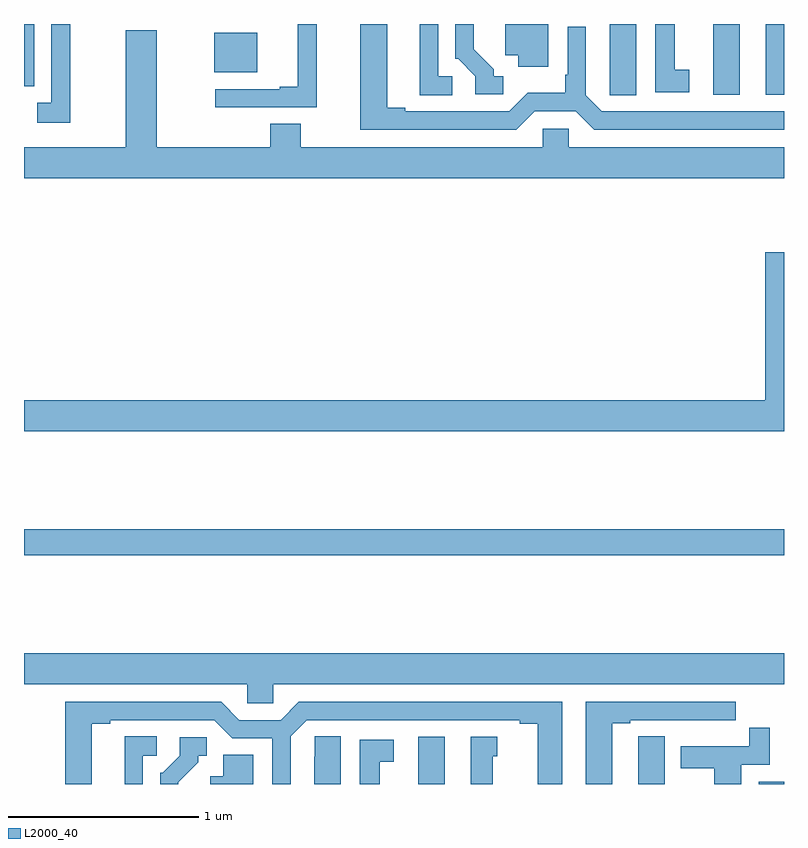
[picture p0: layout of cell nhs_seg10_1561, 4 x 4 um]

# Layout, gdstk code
import gdstk
lib = gdstk.Library(unit=1e-6, precision=1e-09)
def R(c, l, rs):  # rectangles x0, y0, x1, y1
    for r in rs: c.add(gdstk.rectangle(r[:2], r[2:], *l))
def P(c, l, *ps):  # polygons
    for p in ps: c.add(gdstk.Polygon(p, *l))
L2000_40 = (2000, 40)

nhs_seg10_1561 = lib.new_cell('nhs_seg10_1561')
R(nhs_seg10_1561, L2000_40, [(195.074,1258.5,195.214,1258.75), (196.868,1258.5,197,1258.513), (193,1259.704,197,1259.84), (196.628,1262.127,196.768,1262.5), (196.904,1262.127,197,1262.5), (193,1262.173,193.054,1262.5), (194,1262.246,194.227,1262.455)])
P(nhs_seg10_1561, L2000_40, [(195.76,1262.5),(195.533,1262.5),(195.533,1262.336),(195.602,1262.336),(195.602,1262.274),(195.76,1262.274)],
  [(195.523,1262.226),(195.472,1262.226),(195.472,1262.261),(195.367,1262.366),(195.367,1262.5),(195.27,1262.5),(195.27,1262.316),(195.285,1262.316),(195.375,1262.226),(195.375,1262.13),(195.523,1262.13)],
  [(195.253,1262.226),(195.18,1262.226),(195.18,1262.5),(195.083,1262.5),(195.083,1262.125),(195.253,1262.125)],
  [(194.541,1262.5),(194.441,1262.5),(194.441,1262.17),(194.345,1262.17),(194.345,1262.157),(194.007,1262.157),(194.007,1262.061),(194.541,1262.061)],
  [(195.687,1262.04),(195.905,1262.04),(196.001,1261.944),(197,1261.944),(197,1262.04),(196.041,1262.04),(195.957,1262.124),(195.957,1262.485),(195.861,1262.485),(195.861,1262.233),(195.849,1262.233),(195.849,1262.137),(195.652,1262.137),(195.555,1262.04),(195.007,1262.04),(195.007,1262.06),(194.911,1262.06),(194.911,1262.5),(194.771,1262.5),(194.771,1261.944),(195.591,1261.944)],
  [(196.222,1262.5),(196.082,1262.5),(196.082,1262.233),(196.083,1262.233),(196.083,1262.125),(196.222,1262.125)],
  [(196.501,1262.258),(196.426,1262.258),(196.426,1262.5),(196.322,1262.5),(196.322,1262.142),(196.501,1262.142)],
  [(193.244,1262.5),(193.143,1262.5),(193.143,1262.085),(193.071,1262.085),(193.071,1261.98),(193.244,1261.98)],
  [(197,1261.852),(195.867,1261.852),(195.867,1261.95),(195.729,1261.95),(195.729,1261.852),(194.457,1261.852),(194.457,1261.976),(194.297,1261.976),(194.297,1261.852),(193.699,1261.852),(193.699,1262.467),(193.535,1262.467),(193.535,1261.852),(193,1261.852),(193,1261.688),(197,1261.688)],
  [(197,1261.3),(196.901,1261.3),(196.901,1260.52),(193,1260.52),(193,1260.356),(197,1260.356)],
  [(194.313,1259.024),(197,1259.024),(197,1259.188),(193,1259.188),(193,1259.024),(194.175,1259.024),(194.175,1258.926),(194.313,1258.926)],
  [(196.096,1258.821),(196.192,1258.821),(196.192,1258.836),(196.468,1258.836),(196.468,1258.835),(196.634,1258.835),(196.634,1258.836),(196.747,1258.836),(196.747,1258.932),(195.956,1258.932),(195.956,1258.5),(196.096,1258.5)],
  [(193.357,1258.816),(193.453,1258.816),(193.453,1258.836),(194.001,1258.836),(194.097,1258.74),(194.307,1258.74),(194.307,1258.5),(194.403,1258.5),(194.403,1258.752),(194.487,1258.836),(195.608,1258.836),(195.608,1258.816),(195.704,1258.816),(195.704,1258.5),(195.832,1258.5),(195.832,1258.932),(194.447,1258.932),(194.351,1258.836),(194.133,1258.836),(194.037,1258.932),(193.217,1258.932),(193.217,1258.5),(193.357,1258.5)],
  [(196.774,1258.602),(196.925,1258.602),(196.925,1258.795),(196.816,1258.795),(196.816,1258.698),(196.457,1258.698),(196.457,1258.582),(196.634,1258.582),(196.634,1258.5),(196.774,1258.5)],
  [(193.626,1258.65),(193.699,1258.65),(193.699,1258.751),(193.529,1258.751),(193.529,1258.5),(193.626,1258.5)],
  [(196.372,1258.751),(196.233,1258.751),(196.233,1258.643),(196.232,1258.643),(196.232,1258.5),(196.372,1258.5)],
  [(194.668,1258.751),(194.529,1258.751),(194.529,1258.643),(194.528,1258.643),(194.528,1258.5),(194.668,1258.5)],
  [(195.466,1258.647),(195.49,1258.647),(195.49,1258.75),(195.35,1258.75),(195.35,1258.5),(195.466,1258.5)],
  [(193.813,1258.51),(193.918,1258.615),(193.918,1258.65),(193.963,1258.65),(193.963,1258.746),(193.821,1258.746),(193.821,1258.65),(193.731,1258.56),(193.716,1258.56),(193.716,1258.5),(193.813,1258.5)],
  [(194.872,1258.618),(194.947,1258.618),(194.947,1258.734),(194.768,1258.734),(194.768,1258.5),(194.872,1258.5)],
  [(194.206,1258.655),(194.048,1258.655),(194.048,1258.54),(193.979,1258.54),(193.979,1258.5),(194.206,1258.5)])

lib.write_gds('nhs_seg10_1561.gds')
